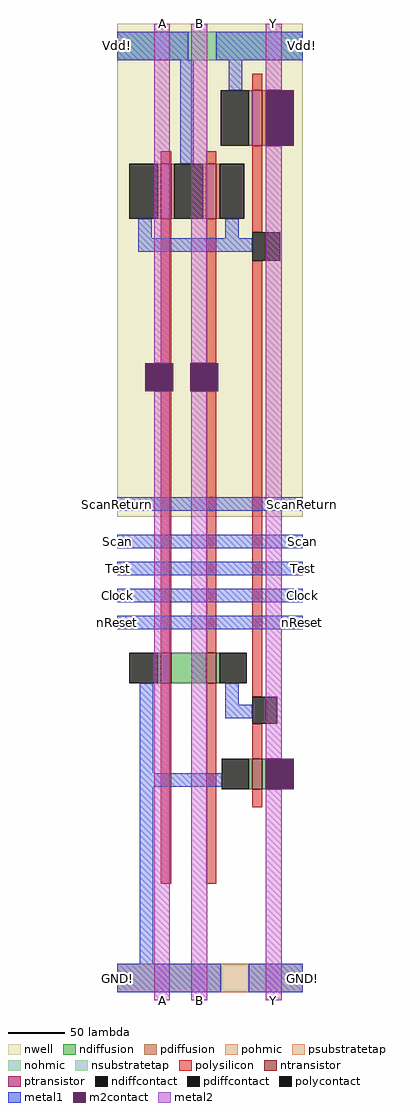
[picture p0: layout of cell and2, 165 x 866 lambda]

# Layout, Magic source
magic
tech tsmc180
<< nwell >>
rect 0 429 165 866
<< polysilicon >>
rect 120 807 129 822
rect 39 742 48 753
rect 79 742 88 753
rect 39 565 48 693
rect 79 565 88 693
rect 120 681 129 758
rect 39 308 48 540
rect 79 308 88 540
rect 39 103 48 281
rect 79 103 88 281
rect 120 269 129 656
rect 120 214 129 245
rect 120 171 129 187
<< ndiffusion >>
rect 36 281 39 308
rect 48 281 79 308
rect 88 281 91 308
rect 117 187 120 214
rect 129 187 132 214
<< pdiffusion >>
rect 117 758 120 807
rect 129 758 132 807
rect 36 693 39 742
rect 48 693 51 742
rect 76 693 79 742
rect 88 693 91 742
<< pohmic >>
rect 0 7 92 32
rect 117 7 165 32
<< nohmic >>
rect 0 834 63 859
rect 88 834 165 859
<< ntransistor >>
rect 39 281 48 308
rect 79 281 88 308
rect 120 187 129 214
<< ptransistor >>
rect 120 758 129 807
rect 39 693 48 742
rect 79 693 88 742
<< polycontact >>
rect 120 656 145 681
rect 25 540 50 565
rect 65 540 90 565
rect 120 245 142 269
<< ndiffcontact >>
rect 11 281 36 308
rect 91 281 115 308
rect 93 187 117 214
rect 132 187 157 214
<< pdiffcontact >>
rect 92 758 117 807
rect 132 758 157 807
rect 11 693 36 742
rect 51 693 76 742
rect 91 693 113 742
<< psubstratetap >>
rect 92 7 117 32
<< nsubstratetap >>
rect 63 834 88 859
<< metal1 >>
rect 0 834 63 859
rect 88 834 165 859
rect 56 742 68 834
rect 99 807 111 834
rect 19 676 31 693
rect 96 676 108 693
rect 19 664 120 676
rect 0 434 165 446
rect 0 401 165 413
rect 0 377 165 389
rect 0 353 165 365
rect 0 329 165 341
rect 20 201 32 281
rect 96 262 108 281
rect 96 250 120 262
rect 20 189 93 201
rect 20 32 32 189
rect 0 7 92 32
rect 117 7 165 32
<< m2contact >>
rect 132 758 157 807
rect 25 540 50 565
rect 65 540 90 565
rect 132 187 157 214
<< metal2 >>
rect 33 565 47 866
rect 66 565 80 866
rect 132 807 146 866
rect 33 0 47 540
rect 66 0 80 540
rect 132 214 146 758
rect 132 0 146 187
<< labels >>
rlabel metal1 0 329 0 341 3 nReset
rlabel metal1 0 353 0 365 3 Clock
rlabel metal1 0 377 0 389 3 Test
rlabel metal1 0 401 0 413 3 Scan
rlabel metal1 0 434 0 446 3 ScanReturn
rlabel metal1 0 7 0 32 3 GND!
rlabel metal1 0 834 0 859 3 Vdd!
rlabel metal2 33 866 47 866 5 A
rlabel metal2 33 0 47 0 1 A
rlabel metal2 66 866 80 866 5 B
rlabel metal2 66 0 80 0 1 B
rlabel metal2 132 866 146 866 5 Y
rlabel metal2 132 0 146 0 1 Y
rlabel metal1 165 834 165 859 7 Vdd!
rlabel metal1 165 434 165 446 7 ScanReturn
rlabel metal1 165 401 165 413 7 Scan
rlabel metal1 165 329 165 341 7 nReset
rlabel metal1 165 353 165 365 7 Clock
rlabel metal1 165 377 165 389 7 Test
rlabel metal1 165 7 165 32 7 GND!
<< end >>
